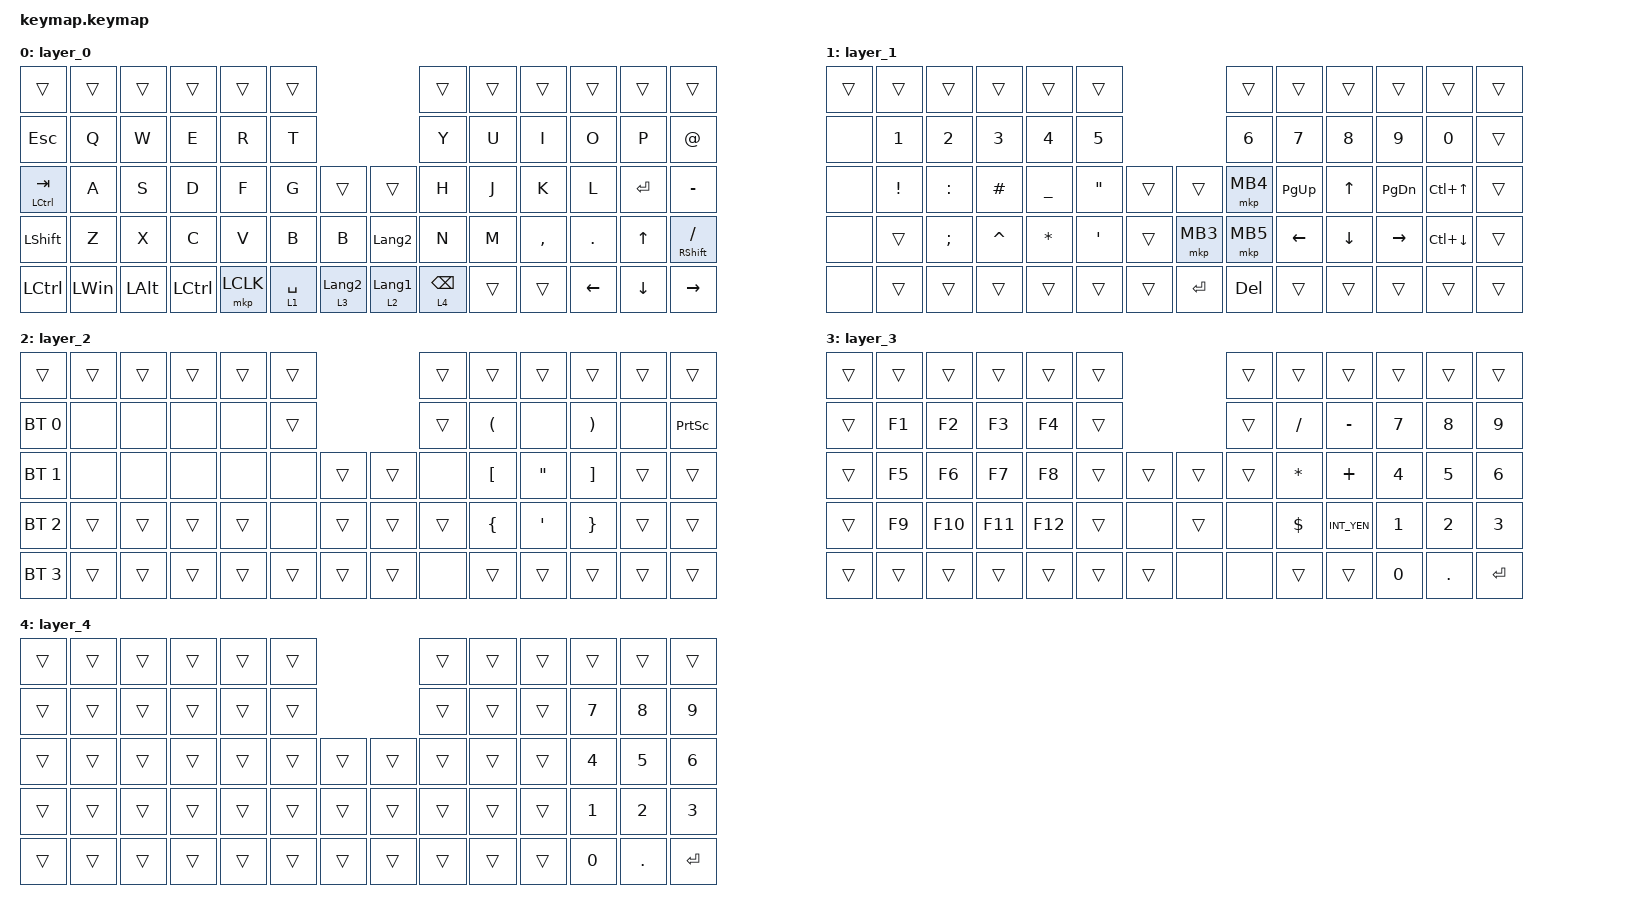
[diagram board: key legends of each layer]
#include <input/processors.dtsi>
#include <dt-bindings/zmk/input_transform.h>
#include <behaviors.dtsi>
#include <dt-bindings/zmk/bt.h>
#include <dt-bindings/zmk/keys.h>
#include <dt-bindings/zmk/pointing.h>

// OS設定を日本語キーボードのまま使用するための変換定義

#define JP_DQUOTE       AT                // "
#define JP_AMPERSAND    CARET             // &
#define JP_QUOTE        AMPERSAND         // '
#define JP_EQUAL        UNDER             // =
#define JP_CARET        EQUAL             // ^
#define JP_YEN          0x89              // ¥
#define JP_PLUS         COLON             // +
#define JP_TILDE        PLUS              // ~
#define JP_PIPE         LS(0x89)          // |
#define JP_AT           LEFT_BRACKET      // @
#define JP_COLON        SINGLE_QUOTE      // :
#define JP_ASTERISK     DOUBLE_QUOTES     // *
#define JP_BACKQUOTE    LEFT_BRACE        // `
#define JP_UNDERSCORE   LS(0x87)          // _
#define JP_LBRACKET     RIGHT_BRACKET     // [
#define JP_RBRACKET     BACKSLASH         // ]
#define JP_LPAREN       ASTERISK          // (
#define JP_RPAREN       LEFT_PARENTHESIS  // )
#define JP_LBRACE       RIGHT_BRACE       // {
#define JP_RBRACE       PIPE              // }
#define JP_KANA         LANGUAGE_1        // かな
#define JP_EISU         LANGUAGE_2        // 英数
#define JP_HANZEN       GRAVE             // 半角/全角

&lt { quick-tap-ms = <200>; };

&mt { quick-tap-ms = <200>; };

/ {
    combos {
        compatible = "zmk,combos";

        bt_clear {
            bindings = <&bt BT_CLR>;
            key-positions = <28 29>;
            layers = <3>;
        };
    };

    keymap {
        compatible = "zmk,keymap";

        layer_0 {
            bindings = <
&trans         &trans        &trans        &trans     &trans     &trans                                           &trans           &trans  &trans     &trans          &trans          &trans
&kp ESCAPE     &kp Q         &kp W         &kp E      &kp R      &kp T                                            &kp Y            &kp U   &kp I      &kp O           &kp P           &kp AT_SIGN
&mt LCTRL TAB  &kp A         &kp S         &kp D      &kp F      &kp G        &trans            &trans            &kp H            &kp J   &kp K      &kp L           &kp ENTER       &kp MINUS
&kp LSHFT      &kp Z         &kp X         &kp C      &kp V      &kp B        &kp B             &kp LANGUAGE_2    &kp N            &kp M   &kp COMMA  &kp DOT         &kp UP_ARROW    &mt RIGHT_SHIFT SLASH
&kp LCTRL      &kp LEFT_WIN  &kp LEFT_ALT  &kp LCTRL  &mkp LCLK  &lt 1 SPACE  &lt 3 LANGUAGE_2  &lt 2 LANGUAGE_1  &lt 4 BACKSPACE  &trans  &trans     &kp LEFT_ARROW  &kp DOWN_ARROW  &kp RIGHT_ARROW
            >;
        };

        layer_1 {
            bindings = <
&trans  &trans           &trans         &trans        &trans          &trans                                &trans        &trans          &trans          &trans           &trans              &trans
&none   &kp NUMBER_1     &kp NUMBER_2   &kp NUMBER_3  &kp NUMBER_4    &kp NUMBER_5                          &kp NUMBER_6  &kp NUMBER_7    &kp NUMBER_8    &kp NUMBER_9     &kp NUMBER_0        &trans
&none   &kp EXCLAMATION  &kp COLON      &kp HASH      &kp UNDERSCORE  &kp DOUBLE_QUOTES  &trans  &trans     &mkp MB4      &kp PAGE_UP     &kp UP_ARROW    &kp PAGE_DOWN    &kp LC(UP_ARROW)    &trans
&none   &trans           &kp SEMICOLON  &kp CARET     &kp ASTERISK    &kp SQT            &trans  &mkp MB3   &mkp MB5      &kp LEFT_ARROW  &kp DOWN_ARROW  &kp RIGHT_ARROW  &kp LC(DOWN_ARROW)  &trans
&none   &trans           &trans         &trans        &trans          &trans             &trans  &kp ENTER  &kp DELETE    &trans          &trans          &trans           &trans              &trans
            >;
        };

        layer_2 {
            bindings = <
&trans        &trans  &trans  &trans  &trans  &trans                  &trans  &trans                &trans             &trans                 &trans  &trans
&bt BT_SEL 0  &none   &none   &none   &none   &trans                  &trans  &kp LEFT_PARENTHESIS  &none              &kp RIGHT_PARENTHESIS  &none   &kp PRINTSCREEN
&bt BT_SEL 1  &none   &none   &none   &none   &none   &trans  &trans  &none   &kp LEFT_BRACKET      &kp DOUBLE_QUOTES  &kp RIGHT_BRACKET      &trans  &trans
&bt BT_SEL 2  &trans  &trans  &trans  &trans  &none   &trans  &trans  &trans  &kp LEFT_BRACE        &kp SQT            &kp RIGHT_BRACE        &trans  &trans
&bt BT_SEL 3  &trans  &trans  &trans  &trans  &trans  &trans  &trans  &none   &trans                &trans             &trans                 &trans  &trans
            >;
        };

        layer_3 {
            bindings = <
&trans  &trans  &trans   &trans   &trans   &trans                  &trans  &trans        &trans       &trans        &trans        &trans
&trans  &kp F1  &kp F2   &kp F3   &kp F4   &trans                  &trans  &kp SLASH     &kp MINUS    &kp NUMBER_7  &kp NUMBER_8  &kp NUMBER_9
&trans  &kp F5  &kp F6   &kp F7   &kp F8   &trans  &trans  &trans  &trans  &kp ASTERISK  &kp PLUS     &kp NUMBER_4  &kp NUMBER_5  &kp NUMBER_6
&trans  &kp F9  &kp F10  &kp F11  &kp F12  &trans  &none   &trans  &none   &kp DOLLAR    &kp INT_YEN  &kp NUMBER_1  &kp NUMBER_2  &kp NUMBER_3
&trans  &trans  &trans   &trans   &trans   &trans  &trans  &none   &none   &trans        &trans       &kp NUMBER_0  &kp PERIOD    &kp ENTER
            >;
        };

        layer_4 {
            bindings = <
&trans  &trans  &trans  &trans  &trans  &trans                  &trans  &trans  &trans  &trans        &trans        &trans
&trans  &trans  &trans  &trans  &trans  &trans                  &trans  &trans  &trans  &kp NUMBER_7  &kp NUMBER_8  &kp NUMBER_9
&trans  &trans  &trans  &trans  &trans  &trans  &trans  &trans  &trans  &trans  &trans  &kp NUMBER_4  &kp NUMBER_5  &kp NUMBER_6
&trans  &trans  &trans  &trans  &trans  &trans  &trans  &trans  &trans  &trans  &trans  &kp NUMBER_1  &kp NUMBER_2  &kp NUMBER_3
&trans  &trans  &trans  &trans  &trans  &trans  &trans  &trans  &trans  &trans  &trans  &kp NUMBER_0  &kp PERIOD    &kp ENTER
            >;
        };
    };
};

&pointing_listener {
    scroller {
        layers = <3>;
        input-processors = <
            &zip_xy_to_scroll_mapper
            &zip_scroll_transform INPUT_TRANSFORM_Y_INVERT
            &zip_scroll_scaler 1 1
        >;
    };
};
